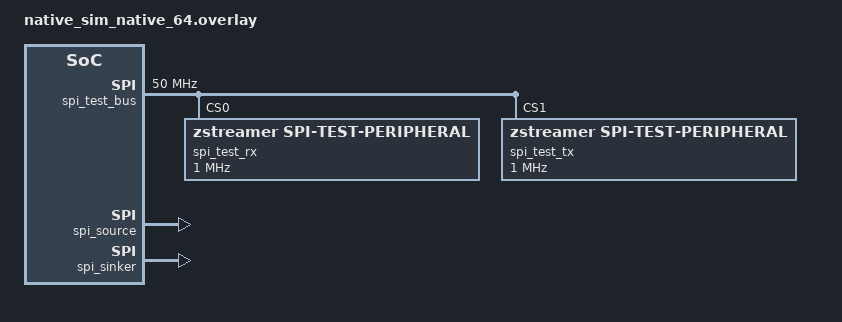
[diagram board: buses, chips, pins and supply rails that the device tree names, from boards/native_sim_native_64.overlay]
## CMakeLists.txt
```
# Copyright (c) 2026 sharonthecreator
# SPDX-License-Identifier: Apache-2.0

cmake_minimum_required(VERSION 3.20.0)

# Pick up test-local DTS bindings.
list(APPEND DTS_ROOT ${CMAKE_CURRENT_SOURCE_DIR})

find_package(Zephyr REQUIRED HINTS $ENV{ZEPHYR_BASE})
project(zstreamer_node_spi_test)

target_sources(app PRIVATE
  src/main.c
  src/spi_test_peripheral.c
)
```

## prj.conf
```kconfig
# Copyright (c) 2026 sharonthecreator
# SPDX-License-Identifier: Apache-2.0

CONFIG_ZTEST=y
CONFIG_ZSTREAMER=y
CONFIG_ZSTREAMER_NODE=y
CONFIG_SPI=y
CONFIG_SPI_EMUL=y
CONFIG_EMUL=y
CONFIG_LOG=y
CONFIG_RING_BUFFER=y
```

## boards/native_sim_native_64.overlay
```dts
/*
 * Copyright (c) 2026 sharonthecreator
 * SPDX-License-Identifier: Apache-2.0
 */

/ {
	spi_test_bus: spi-emul-test@10000 {
		compatible = "zephyr,spi-emul-controller";
		reg = <0x10000 4>;
		clock-frequency = <50000000>;
		#address-cells = <1>;
		#size-cells = <0>;

		spi_test_rx: spi-test-rx@0 {
			compatible = "zstreamer,spi-test-peripheral";
			reg = <0>;
			spi-max-frequency = <1000000>;
		};

		spi_test_tx: spi-test-tx@1 {
			compatible = "zstreamer,spi-test-peripheral";
			reg = <1>;
			spi-max-frequency = <1000000>;
		};
	};

	spi_streaming_graph: spi-streaming-graph {
		compatible = "zstreamer,graph";
		buffer-count = <8>;
		buffer-size = <1024>;

		spi_source: spi-source {
			compatible = "zstreamer,src-spi";
			spi-device = <&spi_test_rx>;
			children = <&spi_sinker>;
			rx-length = <64>;
			thread-stack-size = <1024>;
			thread-priority = <5>;
		};

		spi_sinker: spi-sinker {
			compatible = "zstreamer,sink-spi";
			spi-device = <&spi_test_tx>;
			thread-stack-size = <1024>;
			thread-priority = <5>;
		};
	};
};
```

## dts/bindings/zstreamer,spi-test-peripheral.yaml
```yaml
# Copyright (c) 2026 sharonthecreator
# SPDX-License-Identifier: Apache-2.0

description: |
  SPI test peripheral for zstreamer node SPI driver tests.
  Provides a programmable RX buffer and captures TX data.

compatible: "zstreamer,spi-test-peripheral"

include:
  - name: spi-device.yaml
```

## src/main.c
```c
/*
 * Copyright (c) 2026 sharonthecreator
 * SPDX-License-Identifier: Apache-2.0
 *
 * SPI zstreamer node driver tests.
 *
 * Tests the spi-src (source) and spi-sink (sink) drivers
 * using the SPI emulator on native_sim. Only the polling path
 * is exercised because the SPI emulator does not support async.
 */

#include <string.h>

#include <zephyr/device.h>
#include <zephyr/net_buf.h>
#include <zephyr/ztest.h>

#include <zstreamer/node.h>
#include <zstreamer/source.h>

#include "spi_test_peripheral.h"

#define GRAPH_NODE DT_NODELABEL(spi_streaming_graph)
#define SRC_NODE DT_NODELABEL(spi_source)
#define SINK_NODE DT_NODELABEL(spi_sinker)
#define SPI_RX_DEV_NODE DT_NODELABEL(spi_test_rx)
#define SPI_TX_DEV_NODE DT_NODELABEL(spi_test_tx)

static const struct device *graph_dev = DEVICE_DT_GET(GRAPH_NODE);
static const struct device *src_dev = DEVICE_DT_GET(SRC_NODE);
static const struct device *sink_dev = DEVICE_DT_GET(SINK_NODE);
static const struct device *spi_rx_dev = DEVICE_DT_GET(SPI_RX_DEV_NODE);
static const struct device *spi_tx_dev = DEVICE_DT_GET(SPI_TX_DEV_NODE);

/* Drain stale data and stop the source between tests. */
static void cleanup(void *fixture) {
  ARG_UNUSED(fixture);

  zstreamer_source_stop(src_dev);
  spi_test_flush_rx(spi_rx_dev);
  spi_test_flush_tx(spi_tx_dev);
}

ZTEST_SUITE(zstreamer_node_spi, NULL, NULL, cleanup, cleanup, NULL);

/* ------------------------------------------------------------------ */
/* Basic functional tests                                              */
/* ------------------------------------------------------------------ */

ZTEST(zstreamer_node_spi, test_devices_ready) {
  zassert_true(device_is_ready(graph_dev), "graph not ready");
  zassert_true(device_is_ready(src_dev), "src not ready");
  zassert_true(device_is_ready(sink_dev), "sink not ready");
  zassert_true(device_is_ready(spi_rx_dev), "spi rx dev not ready");
  zassert_true(device_is_ready(spi_tx_dev), "spi tx dev not ready");
}

ZTEST(zstreamer_node_spi, test_start_stop) {
  int ret;

  /* Source start/stop. */
  ret = zstreamer_source_start(src_dev);
  zassert_equal(ret, 0, "src start failed: %d", ret);

  /* Starting again must return -EALREADY. */
  ret = zstreamer_source_start(src_dev);
  zassert_equal(ret, -EALREADY, "double start: %d", ret);

  ret = zstreamer_source_stop(src_dev);
  zassert_equal(ret, 0, "src stop failed: %d", ret);

  /* Stopping again must return -EALREADY. */
  ret = zstreamer_source_stop(src_dev);
  zassert_equal(ret, -EALREADY, "double stop: %d", ret);
}

ZTEST(zstreamer_node_spi, test_buf_alloc) {
  struct net_buf *buf;

  buf = zstreamer_node_alloc_buf(src_dev, K_MSEC(100));
  zassert_not_null(buf, "buf alloc failed");
  zassert_true(net_buf_tailroom(buf) > 0, "no tailroom");
  net_buf_unref(buf);
}

ZTEST(zstreamer_node_spi, test_spi_relay) {
  /*
   * Pre-load data into the source SPI peripheral emulator.
   * The source node reads from SPI, the data flows through
   * the pipeline, and the sink node writes it to the other
   * SPI peripheral. We then extract what the sink wrote.
   */
  const uint8_t tx_data[] = "hello spi";
  const size_t tx_len = sizeof(tx_data) - 1;
  uint8_t rx_buf[64];
  uint32_t rx_len;
  int ret;

  /*
   * Load enough data for the source's rx-length (64 bytes).
   * The first 9 bytes are our payload; the rest will be zeros
   * from the emulator's zero-fill when the ring buffer is empty.
   */
  spi_test_put_rx_data(spi_rx_dev, tx_data, tx_len);

  ret = zstreamer_source_start(src_dev);
  zassert_equal(ret, 0, "src start: %d", ret);

  /* Let the pipeline process data.
   * The source reads 64-byte frames. Give it time for one cycle.
   */
  k_msleep(500);

  ret = zstreamer_source_stop(src_dev);
  zassert_equal(ret, 0);

  rx_len = spi_test_get_tx_data(spi_tx_dev, rx_buf, sizeof(rx_buf));
  /*
   * The source reads 64 bytes per transaction, so the sink
   * should have written at least 64 bytes. Verify the first
   * tx_len bytes match our input.
   */
  zassert_true(rx_len >= tx_len, "expected at least %u bytes, got %u", tx_len,
               rx_len);
  zassert_mem_equal(rx_buf, tx_data, tx_len, "relayed data mismatch");
}

ZTEST(zstreamer_node_spi, test_spi_long_transfer) {
  /*
   * Stream 256 bytes through the SPI pipeline.
   * The source reads 64 bytes per frame, so this requires
   * at least 4 read cycles.
   */
  uint8_t tx_data[256];
  uint8_t rx_buf[300];
  uint32_t rx_total;
  int ret;

  for (size_t i = 0; i < sizeof(tx_data); i++) {
    tx_data[i] = (uint8_t)(i & 0xff);
  }

  spi_test_put_rx_data(spi_rx_dev, tx_data, sizeof(tx_data));

  ret = zstreamer_source_start(src_dev);
  zassert_equal(ret, 0);

  k_msleep(2000);

  ret = zstreamer_source_stop(src_dev);
  zassert_equal(ret, 0);

  rx_total = spi_test_get_tx_data(spi_tx_dev, rx_buf, sizeof(rx_buf));
  /*
   * We expect at least 256 bytes to have been relayed.
   * The source may have read extra zero-filled frames beyond
   * the 256 bytes we loaded, so rx_total >= 256.
   */
  zassert_true(rx_total >= sizeof(tx_data), "long xfer: expected >= %u, got %u",
               (unsigned)sizeof(tx_data), rx_total);
  zassert_mem_equal(rx_buf, tx_data, sizeof(tx_data));
}

ZTEST(zstreamer_node_spi, test_spi_restart_cycle) {
  uint8_t pattern[8] = {0xAA, 0xBB, 0xCC, 0xDD, 0x11, 0x22, 0x33, 0x44};
  uint8_t rx_buf[64];
  uint32_t rx_len;

  for (int cycle = 0; cycle < 5; cycle++) {
    int ret;

    spi_test_flush_rx(spi_rx_dev);
    spi_test_flush_tx(spi_tx_dev);

    spi_test_put_rx_data(spi_rx_dev, pattern, sizeof(pattern));

    ret = zstreamer_source_start(src_dev);
    zassert_equal(ret, 0, "cycle %d src start", cycle);

    k_msleep(300);

    ret = zstreamer_source_stop(src_dev);
    zassert_equal(ret, 0);

    rx_len = spi_test_get_tx_data(spi_tx_dev, rx_buf, sizeof(rx_buf));
    zassert_true(rx_len >= sizeof(pattern), "cycle %d: expected >= %u, got %u",
                 cycle, (unsigned)sizeof(pattern), rx_len);
    zassert_mem_equal(rx_buf, pattern, sizeof(pattern),
                      "cycle %d: data mismatch", cycle);
  }
}

ZTEST(zstreamer_node_spi, test_spi_stress) {
  /*
   * Push 1024 bytes through the pipeline.
   * Each SPI read is 64 bytes, so the source must complete
   * 16 read transactions.
   */
  uint8_t tx_data[1024];
  uint8_t rx_buf[1100];
  uint32_t rx_total;
  int ret;

  for (size_t i = 0; i < sizeof(tx_data); i++) {
    tx_data[i] = (uint8_t)((i * 7 + 13) & 0xff);
  }

  spi_test_put_rx_data(spi_rx_dev, tx_data, sizeof(tx_data));

  ret = zstreamer_source_start(src_dev);
  zassert_equal(ret, 0);

  k_msleep(3000);

  ret = zstreamer_source_stop(src_dev);
  zassert_equal(ret, 0);

  rx_total = spi_test_get_tx_data(spi_tx_dev, rx_buf, sizeof(rx_buf));
  zassert_true(rx_total >= sizeof(tx_data), "stress: expected >= %u, got %u",
               (unsigned)sizeof(tx_data), rx_total);
  zassert_mem_equal(rx_buf, tx_data, sizeof(tx_data));
}

/* ------------------------------------------------------------------ */
/* Pattern verification for large transfers                            */
/* ------------------------------------------------------------------ */

static inline uint8_t pattern_byte(uint32_t pos) {
  return (uint8_t)((pos * 131u + 17u) & 0xffu);
}

static void run_large_spi_transfer(uint32_t total, uint32_t chunk) {
  static uint8_t tx_buf[2048];
  static uint8_t rx_buf[2048];
  uint32_t tx_pos = 0;
  uint32_t rx_pos = 0;
  int ret;

  ret = zstreamer_source_start(src_dev);
  zassert_equal(ret, 0, "src start");

  while (tx_pos < total || rx_pos < total) {
    if (tx_pos < total) {
      uint32_t want = chunk;

      if (want > sizeof(tx_buf)) {
        want = sizeof(tx_buf);
      }
      if (want > total - tx_pos) {
        want = total - tx_pos;
      }

      for (uint32_t i = 0; i < want; i++) {
        tx_buf[i] = pattern_byte(tx_pos + i);
      }

      tx_pos += spi_test_put_rx_data(spi_rx_dev, tx_buf, want);
    }

    k_msleep(1);

    for (;;) {
      uint32_t want = sizeof(rx_buf);
      uint32_t got;

      if (want > total - rx_pos) {
        want = total - rx_pos;
      }
      if (want == 0) {
        break;
      }

      got = spi_test_get_tx_data(spi_tx_dev, rx_buf, want);
      if (got == 0) {
        break;
      }

      for (uint32_t i = 0; i < got; i++) {
        uint8_t exp = pattern_byte(rx_pos + i);

        zassert_equal(rx_buf[i], exp, "mismatch at byte %u: 0x%02x != 0x%02x",
                      rx_pos + i, rx_buf[i], exp);
      }
      rx_pos += got;
    }
  }

  ret = zstreamer_source_stop(src_dev);
  zassert_equal(ret, 0, "src stop");

  zassert_equal(rx_pos, total, "total mismatch: expected %u, got %u", total,
                rx_pos);
}

ZTEST(zstreamer_node_spi, test_spi_large_verified) {
  /*
   * Stream 4 KiB and verify every byte.
   * Load the full payload into the source emulator first,
   * then run the pipeline and verify on the sink side.
   */
  static uint8_t tx_data[4096];
  static uint8_t rx_data[4200];
  uint32_t rx_total;
  int ret;

  for (size_t i = 0; i < sizeof(tx_data); i++) {
    tx_data[i] = pattern_byte(i);
  }

  spi_test_put_rx_data(spi_rx_dev, tx_data, sizeof(tx_data));

  ret = zstreamer_source_start(src_dev);
  zassert_equal(ret, 0);

  k_msleep(5000);

  ret = zstreamer_source_stop(src_dev);
  zassert_equal(ret, 0);

  rx_total = spi_test_get_tx_data(spi_tx_dev, rx_data, sizeof(rx_data));
  zassert_true(rx_total >= sizeof(tx_data), "large: expected >= %u, got %u",
               (unsigned)sizeof(tx_data), rx_total);

  for (size_t i = 0; i < sizeof(tx_data); i++) {
    zassert_equal(rx_data[i], tx_data[i],
                  "mismatch at byte %u: 0x%02x != 0x%02x", (unsigned)i,
                  rx_data[i], tx_data[i]);
  }
}

ZTEST(zstreamer_node_spi, test_spi_64kb_streamed) {
  /* 64 KiB end-to-end with continuous feed and drain. */
  run_large_spi_transfer(64u * 1024u, 1536u);
}

ZTEST(zstreamer_node_spi, test_spi_96kb_varied_chunks) {
  /* 96 KiB with mixed chunk sizes (all >= 64-byte SPI frame). */
  static const uint16_t chunks[] = {64, 137, 511, 1024, 2048, 777, 1536};
  const uint32_t total = 96u * 1024u;
  uint32_t tx_pos = 0;
  uint32_t rx_pos = 0;
  uint32_t ci = 0;
  static uint8_t tx_buf[2048];
  static uint8_t rx_buf[2048];
  int ret;

  ret = zstreamer_source_start(src_dev);
  zassert_equal(ret, 0, "src start");

  while (tx_pos < total || rx_pos < total) {
    if (tx_pos < total) {
      uint32_t want = chunks[ci % ARRAY_SIZE(chunks)];

      ci++;
      if (want > sizeof(tx_buf)) {
        want = sizeof(tx_buf);
      }
      if (want > total - tx_pos) {
        want = total - tx_pos;
      }

      for (uint32_t i = 0; i < want; i++) {
        tx_buf[i] = pattern_byte(tx_pos + i);
      }

      tx_pos += spi_test_put_rx_data(spi_rx_dev, tx_buf, want);
    }

    k_msleep(1);

    for (;;) {
      uint32_t want = sizeof(rx_buf);
      uint32_t got;

      if (want > total - rx_pos) {
        want = total - rx_pos;
      }
      if (want == 0) {
        break;
      }

      got = spi_test_get_tx_data(spi_tx_dev, rx_buf, want);
      if (got == 0) {
        break;
      }

      for (uint32_t i = 0; i < got; i++) {
        uint8_t exp = pattern_byte(rx_pos + i);

        zassert_equal(rx_buf[i], exp, "mismatch at byte %u: 0x%02x != 0x%02x",
                      rx_pos + i, rx_buf[i], exp);
      }
      rx_pos += got;
    }
  }

  ret = zstreamer_source_stop(src_dev);
  zassert_equal(ret, 0, "src stop");

  zassert_equal(rx_pos, total, "total mismatch: expected %u, got %u", total,
                rx_pos);
}
```

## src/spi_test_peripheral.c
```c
/*
 * Copyright (c) 2026 sharonthecreator
 * SPDX-License-Identifier: Apache-2.0
 *
 * SPI test peripheral: a minimal device + emulator for testing
 * zstreamer_node SPI source/sink drivers on native_sim.
 *
 * Provides ring buffers for RX (data returned to master on reads)
 * and TX (data captured from master writes).
 */

#define DT_DRV_COMPAT zstreamer_spi_test_peripheral

#include <zephyr/device.h>
#include <zephyr/drivers/emul.h>
#include <zephyr/drivers/spi.h>
#include <zephyr/drivers/spi_emul.h>
#include <zephyr/sys/ring_buffer.h>
#include <zephyr/logging/log.h>

#include "spi_test_peripheral.h"

LOG_MODULE_REGISTER(spi_test_peripheral, LOG_LEVEL_DBG);

#define RING_BUF_SIZE 4096

struct spi_test_data {
	struct ring_buf rx_ring;
	uint8_t rx_buf[RING_BUF_SIZE];
	struct ring_buf tx_ring;
	uint8_t tx_buf[RING_BUF_SIZE];
};

/* ------------------------------------------------------------------ */
/* Public helpers for test code                                        */
/* ------------------------------------------------------------------ */

uint32_t spi_test_put_rx_data(const struct device *dev,
			      const uint8_t *data, size_t len)
{
	struct spi_test_data *ddata = dev->data;

	return ring_buf_put(&ddata->rx_ring, data, len);
}

uint32_t spi_test_get_tx_data(const struct device *dev,
			      uint8_t *buf, size_t len)
{
	struct spi_test_data *ddata = dev->data;

	return ring_buf_get(&ddata->tx_ring, buf, len);
}

void spi_test_flush_rx(const struct device *dev)
{
	struct spi_test_data *ddata = dev->data;

	ring_buf_reset(&ddata->rx_ring);
}

void spi_test_flush_tx(const struct device *dev)
{
	struct spi_test_data *ddata = dev->data;

	ring_buf_reset(&ddata->tx_ring);
}

/* ------------------------------------------------------------------ */
/* Emulator I/O callback                                               */
/* ------------------------------------------------------------------ */

static int spi_test_emul_io(const struct emul *target,
			    const struct spi_config *config,
			    const struct spi_buf_set *tx_bufs,
			    const struct spi_buf_set *rx_bufs)
{
	struct spi_test_data *data = target->data;

	ARG_UNUSED(config);

	/* Capture TX data from master. */
	if (tx_bufs != NULL) {
		for (size_t i = 0; i < tx_bufs->count; i++) {
			const struct spi_buf *b = &tx_bufs->buffers[i];

			if (b->buf != NULL && b->len > 0) {
				ring_buf_put(&data->tx_ring, b->buf, b->len);
			}
		}
	}

	/* Fill RX data for master. */
	if (rx_bufs != NULL) {
		for (size_t i = 0; i < rx_bufs->count; i++) {
			struct spi_buf *b = (struct spi_buf *)&rx_bufs->buffers[i];

			if (b->buf != NULL && b->len > 0) {
				uint32_t got = ring_buf_get(&data->rx_ring,
							    b->buf, b->len);
				/* Zero-fill if not enough data. */
				if (got < b->len) {
					memset((uint8_t *)b->buf + got, 0,
					       b->len - got);
				}
			}
		}
	}

	return 0;
}

static const struct spi_emul_api spi_test_emul_api = {
	.io = spi_test_emul_io,
};

/* ------------------------------------------------------------------ */
/* Device driver (minimal, just makes DEVICE_DT_GET work)             */
/* ------------------------------------------------------------------ */

static int spi_test_dev_init(const struct device *dev)
{
	struct spi_test_data *data = dev->data;

	ring_buf_init(&data->rx_ring, sizeof(data->rx_buf), data->rx_buf);
	ring_buf_init(&data->tx_ring, sizeof(data->tx_buf), data->tx_buf);
	return 0;
}

/* ------------------------------------------------------------------ */
/* Emulator init                                                       */
/* ------------------------------------------------------------------ */

static int spi_test_emul_init(const struct emul *target,
			      const struct device *parent)
{
	ARG_UNUSED(target);
	ARG_UNUSED(parent);
	return 0;
}

/* ------------------------------------------------------------------ */
/* Instantiation                                                       */
/* ------------------------------------------------------------------ */

#define SPI_TEST_PERIPHERAL_DEFINE(inst)                                        \
	static struct spi_test_data spi_test_data_##inst;                      \
	DEVICE_DT_INST_DEFINE(inst, spi_test_dev_init, NULL,                   \
			      &spi_test_data_##inst, NULL,                     \
			      POST_KERNEL,                                     \
			      CONFIG_KERNEL_INIT_PRIORITY_DEVICE, NULL);       \
	EMUL_DT_INST_DEFINE(inst, spi_test_emul_init,                          \
			    &spi_test_data_##inst, NULL,                        \
			    &spi_test_emul_api, NULL);

DT_INST_FOREACH_STATUS_OKAY(SPI_TEST_PERIPHERAL_DEFINE)
```

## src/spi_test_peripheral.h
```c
/*
 * Copyright (c) 2026 sharonthecreator
 * SPDX-License-Identifier: Apache-2.0
 */

#ifndef SPI_TEST_PERIPHERAL_H_
#define SPI_TEST_PERIPHERAL_H_

#include <zephyr/device.h>
#include <stddef.h>
#include <stdint.h>

/**
 * @brief Load data into the emulator's RX buffer.
 *
 * This data will be returned to the SPI master on subsequent reads.
 *
 * @param dev    The test peripheral device.
 * @param data   Data to load.
 * @param len    Number of bytes.
 * @return Number of bytes actually loaded.
 */
uint32_t spi_test_put_rx_data(const struct device *dev,
			      const uint8_t *data, size_t len);

/**
 * @brief Retrieve data that was written by the SPI master.
 *
 * @param dev    The test peripheral device.
 * @param buf    Buffer to fill.
 * @param len    Maximum bytes to retrieve.
 * @return Number of bytes actually retrieved.
 */
uint32_t spi_test_get_tx_data(const struct device *dev,
			      uint8_t *buf, size_t len);

/**
 * @brief Flush (discard) all pending RX data.
 */
void spi_test_flush_rx(const struct device *dev);

/**
 * @brief Flush (discard) all captured TX data.
 */
void spi_test_flush_tx(const struct device *dev);

#endif /* SPI_TEST_PERIPHERAL_H_ */
```
